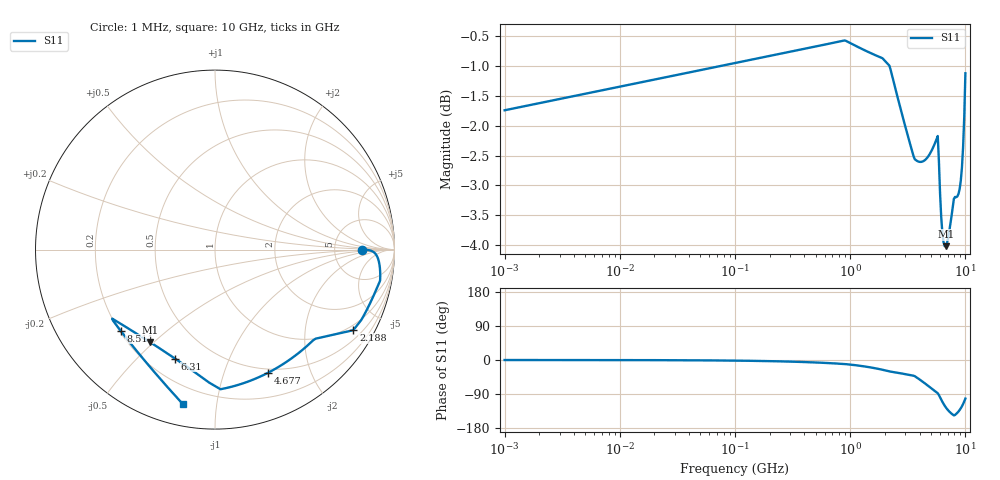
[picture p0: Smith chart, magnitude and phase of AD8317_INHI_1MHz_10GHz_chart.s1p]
! AD8317 input impedance model 'chart', 1 MHz - 10 GHz (see ad8317_input_model.py)
! Reference impedance 50 ohm. INLO is ac-coupled RF common.
! 1-port: INHI to ground (INLO ac-grounded).
# HZ S RI R 50
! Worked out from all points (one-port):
!   401 points, 1 MHz to 10 GHz, reference 50 ohm
!   lowest |S11| = -4.0 dB at 6.761 GHz (marker M1), VSWR 4.40, Z = 14.2 - j24.3 ohm
!   |S11| at or under -10 dB: nowhere
!   S11 on the Smith chart (normalised r, x): 1 MHz: 10.00, -0.02; 2.188 GHz: 0.81, -3.55; 4.677 GHz: 0.46, -1.42; 6.31 GHz: 0.31, -0.65; 8.511 GHz: 0.21, -0.36; 10 GHz: 0.11, -0.81
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1000000  0.8182 -0.000363
3162278  0.837 -0.00107
1e7  0.8563 -0.00311
3.162278e7  0.8759 -0.00895
1.023293e8  0.896 -0.0259
3.162278e8  0.9139 -0.0705
6.16595e8  0.9203 -0.1257
1e9  0.9104 -0.1953
1.62181e9  0.8479 -0.3317
1.905461e9  0.8149 -0.3923
2.187762e9  0.7716 -0.447
3.162278e9  0.6095 -0.4854
3.467369e9  0.5707 -0.4941
3.715352e9  0.5293 -0.522
4.168694e9  0.4226 -0.6086
4.677351e9  0.2965 -0.6857
5.248075e9  0.1535 -0.7461
5.623413e9  0.0619 -0.7715
5.888437e9  -0.032 -0.7414
6.309573e9  -0.2232 -0.6068
6.76083e9  -0.3616 -0.5158
7.24436e9  -0.4667 -0.4496
7.762471e9  -0.5492 -0.3988
8.128305e9  -0.568 -0.3962
8.51138e9  -0.5263 -0.4512
9.120108e9  -0.4341 -0.5673
9.772372e9  -0.2686 -0.7617
1e10  -0.18 -0.86
